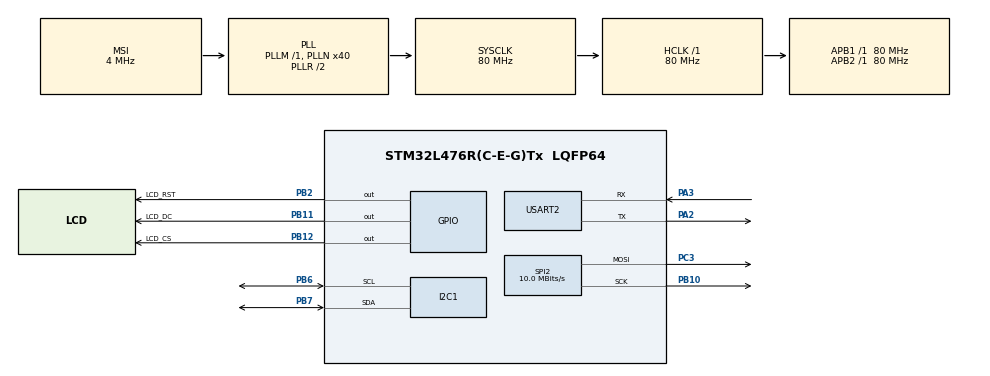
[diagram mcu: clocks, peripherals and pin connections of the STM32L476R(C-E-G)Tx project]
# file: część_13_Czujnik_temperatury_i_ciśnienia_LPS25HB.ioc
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Dma.Request0=SPI2_TX
Dma.SPI2_TX.0.Direction=DMA_MEMORY_TO_PERIPH
Dma.SPI2_TX.0.Instance=DMA1_Channel5
Dma.SPI2_TX.0.MemDataAlignment=DMA_MDATAALIGN_BYTE
Dma.SPI2_TX.0.MemInc=DMA_MINC_ENABLE
Dma.SPI2_TX.0.Mode=DMA_NORMAL
Dma.SPI2_TX.0.PeriphDataAlignment=DMA_PDATAALIGN_BYTE
Dma.SPI2_TX.0.PeriphInc=DMA_PINC_DISABLE
Dma.SPI2_TX.0.Priority=DMA_PRIORITY_LOW
I2C1.Timing=0x10D19CE4
Mcu.Family=STM32L4
Mcu.Name=STM32L476R(C-E-G)Tx
Mcu.Package=LQFP64
NVIC.DMA1_Channel5_IRQn=true\:0\:0\:false\:false\:true\:false\:true\:true
NVIC.PriorityGroup=NVIC_PRIORITYGROUP_4
NVIC.USART2_IRQn=true\:12\:0\:true\:false\:true\:true\:true\:true
PA2.Mode=Asynchronous
PA2.Signal=USART2_TX
PA3.Mode=Asynchronous
PA3.Signal=USART2_RX
PB10.Mode=TX_Only_Simplex_Unidirect_Master
PB10.Signal=SPI2_SCK
PB11.GPIO_Label=LCD_DC
PB11.Signal=GPIO_Output
PB12.GPIO_Label=LCD_CS
PB12.PinState=GPIO_PIN_SET
PB12.Signal=GPIO_Output
PB2.GPIO_Label=LCD_RST
PB2.Signal=GPIO_Output
PB6.Mode=I2C
PB6.Signal=I2C1_SCL
PB7.Mode=I2C
PB7.Signal=I2C1_SDA
PC3.Mode=TX_Only_Simplex_Unidirect_Master
PC3.Signal=SPI2_MOSI
ProjectManager.HeapSize=0x200
ProjectManager.StackSize=0x400
ProjectManager.TargetToolchain=STM32CubeIDE
RCC.AHBFreq_Value=80000000
RCC.APB1Freq_Value=80000000
RCC.APB1TimFreq_Value=80000000
RCC.APB2Freq_Value=80000000
RCC.APB2TimFreq_Value=80000000
RCC.CortexFreq_Value=80000000
RCC.HCLKFreq_Value=80000000
RCC.HSE_VALUE=8000000
RCC.HSI_VALUE=16000000
RCC.LSE_VALUE=32768
RCC.MSI_VALUE=4000000
RCC.PLLN=40
RCC.SYSCLKFreq_VALUE=80000000
RCC.SYSCLKSource=RCC_SYSCLKSOURCE_PLLCLK
RCC.VCOOutputFreq_Value=160000000
SPI2.BaudRatePrescaler=SPI_BAUDRATEPRESCALER_8
SPI2.CalculateBaudRate=10.0 MBits/s
SPI2.DataSize=SPI_DATASIZE_8BIT
SPI2.Direction=SPI_DIRECTION_2LINES
SPI2.Mode=SPI_MODE_MASTER
SPI2.VirtualType=VM_MASTER
USART2.VirtualMode-Asynchronous=VM_ASYNC
board=custom

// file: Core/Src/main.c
/* USER CODE BEGIN Header */
/**
  ******************************************************************************
  * @file           : main.c
  * @brief          : Main program body
  ******************************************************************************
  * @attention
  *
  * Copyright (c) 2026 STMicroelectronics.
  * All rights reserved.
  *
  * This software is licensed under terms that can be found in the LICENSE file
  * in the root directory of this software component.
  * If no LICENSE file comes with this software, it is provided AS-IS.
  *
  ******************************************************************************
  */
/* USER CODE END Header */
#include "main.h"
#include "dma.h"
#include "i2c.h"
#include "spi.h"
#include "usart.h"
#include "gpio.h"

/* USER CODE BEGIN Includes */
#include "stdio.h"
#include "hagl.h"
#include "font6x9.h"
#include "rgb565.h"
#include "lps25hb.h"
#include "string.h"
#include "math.h"
/* USER CODE END Includes */

void SystemClock_Config(void);

/* USER CODE BEGIN 0 */
int __io_putchar(int ch)
{
  if (ch == '\n') {
    __io_putchar('\r');
  }
  HAL_UART_Transmit(&huart2, (uint8_t*)&ch, 1, HAL_MAX_DELAY);
  return 1;
}
/* USER CODE END 0 */

int main(void)
{

  /* MCU Configuration--------------------------------------------------------*/

  /* Reset of all peripherals, Initializes the Flash interface and the Systick. */
  HAL_Init();

  /* Configure the system clock */
  SystemClock_Config();

  /* Initialize all configured peripherals */
  MX_GPIO_Init();
  MX_DMA_Init();
  MX_SPI2_Init();
  MX_USART2_UART_Init();
  MX_I2C1_Init();
  /* USER CODE BEGIN 2 */
lcd_init();
hagl_backend_t *display = hagl_init();
float temperature, pressure;
wchar_t textBuffer [24];

if (lps_init() == HAL_OK){
	printf("Found LPS25HB\n");
	hagl_put_text(display, L"Found LPS25HB", 5, 60, rgb565(255, 255, 255), font6x9);
}else{
	printf("LPS25HB could not be found\n");
	hagl_put_text(display, L"LPS25HB could not be found", 95, 60, rgb565(255, 255, 255), font6x9);
	Error_Handler();
}

HAL_Delay(100);
lps_set_calib(120);
hagl_flush(display);
  /* USER CODE END 2 */

  /* Infinite loop */
  while (1)
  {

    /* USER CODE BEGIN 3 */
	temperature = lps_read_temp();
	pressure = lps_read_pressure();

	float  rel_pressure = pressure * exp(0.034162608724308 * 151.0 / (temperature + 273.15));

	printf("Temperature = %.1f*C\n", temperature);
	printf("Pressure = %.1f hPa\n", pressure);

	while(lcd_is_busy()) {}

	swprintf(textBuffer, sizeof(textBuffer)/sizeof(wchar_t), L"Temperature: %2.f \u00B0C", temperature);
	hagl_put_text(display, textBuffer, 5, 70, rgb565(255, 255, 255), font6x9);
	swprintf(textBuffer, sizeof(textBuffer)/sizeof(wchar_t), L"Pressure: %.2f hPa", rel_pressure);
	hagl_put_text(display, textBuffer, 5, 80, rgb565(255, 255, 255), font6x9);
	hagl_flush(display);

	HAL_Delay(1000);
  }
  /* USER CODE END 3 */
}

void SystemClock_Config(void)
{
  RCC_OscInitTypeDef RCC_OscInitStruct = {0};
  RCC_ClkInitTypeDef RCC_ClkInitStruct = {0};

  /** Configure the main internal regulator output voltage
  */
  if (HAL_PWREx_ControlVoltageScaling(PWR_REGULATOR_VOLTAGE_SCALE1) != HAL_OK)
  {
    Error_Handler();
  }

  /** Initializes the RCC Oscillators according to the specified parameters
  * in the RCC_OscInitTypeDef structure.
  */
  RCC_OscInitStruct.OscillatorType = RCC_OSCILLATORTYPE_MSI;
  RCC_OscInitStruct.MSIState = RCC_MSI_ON;
  RCC_OscInitStruct.MSICalibrationValue = 0;
  RCC_OscInitStruct.MSIClockRange = RCC_MSIRANGE_6;
  RCC_OscInitStruct.PLL.PLLState = RCC_PLL_ON;
  RCC_OscInitStruct.PLL.PLLSource = RCC_PLLSOURCE_MSI;
  RCC_OscInitStruct.PLL.PLLM = 1;
  RCC_OscInitStruct.PLL.PLLN = 40;
  RCC_OscInitStruct.PLL.PLLP = RCC_PLLP_DIV7;
  RCC_OscInitStruct.PLL.PLLQ = RCC_PLLQ_DIV2;
  RCC_OscInitStruct.PLL.PLLR = RCC_PLLR_DIV2;
  if (HAL_RCC_OscConfig(&RCC_OscInitStruct) != HAL_OK)
  {
    Error_Handler();
  }

  /** Initializes the CPU, AHB and APB buses clocks
  */
  RCC_ClkInitStruct.ClockType = RCC_CLOCKTYPE_HCLK|RCC_CLOCKTYPE_SYSCLK
                              |RCC_CLOCKTYPE_PCLK1|RCC_CLOCKTYPE_PCLK2;
  RCC_ClkInitStruct.SYSCLKSource = RCC_SYSCLKSOURCE_PLLCLK;
  RCC_ClkInitStruct.AHBCLKDivider = RCC_SYSCLK_DIV1;
  RCC_ClkInitStruct.APB1CLKDivider = RCC_HCLK_DIV1;
  RCC_ClkInitStruct.APB2CLKDivider = RCC_HCLK_DIV1;

  if (HAL_RCC_ClockConfig(&RCC_ClkInitStruct, FLASH_LATENCY_4) != HAL_OK)
  {
    Error_Handler();
  }
}

void Error_Handler(void)
{
  __disable_irq();
  while (1)
  {
  }
}
